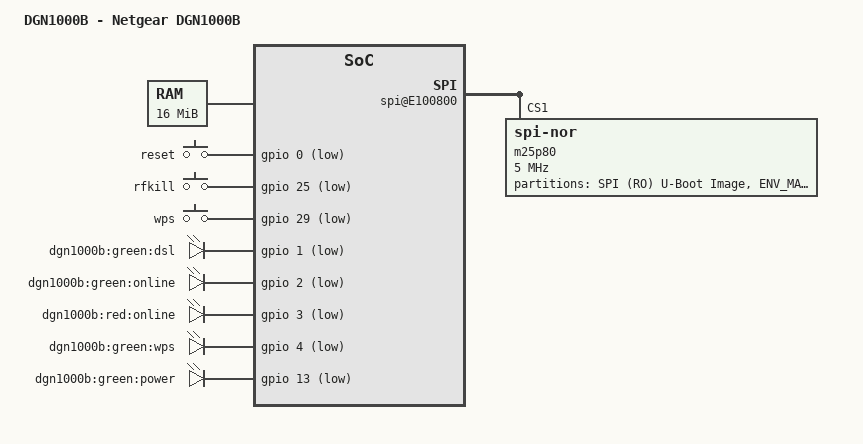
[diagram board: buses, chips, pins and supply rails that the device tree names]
/dts-v1/;

#include "amazonse.dtsi"

#include <dt-bindings/input/input.h>

/ {
	model = "DGN1000B - Netgear DGN1000B";

	chosen {
		bootargs = "console=ttyLTQ0,115200";
	};

	aliases {
		led-boot = &power;
		led-failsafe = &power;
		led-running = &power;

		led-dsl = &dsl;
		led-internet = &online_green;
	};

	memory@0 {
		reg = <0x0 0x1000000>;
	};

	fpi@10000000 {
		gpio: pinmux@E100B10 {
			pinctrl-names = "default";
			pinctrl-0 = <&state_default>;

			state_default: pinmux {
				asc {
					lantiq,groups = "asc";
					lantiq,function = "asc";
				};
				keys_in {
					lantiq,pins = "io0",/* "io25", */"io29";
					lantiq,pull = <2>;
					lantiq,open-drain = <1>;
				};
			};
			pins_spi_default: pins_spi_default {
				spi_in {
					lantiq,groups = "spi_di";
					lantiq,function = "spi";
				};
				spi_out {
					lantiq,groups = "spi_do", "spi_clk",
						"spi_cs1";
					lantiq,function = "spi";
					lantiq,output = <1>;
				};
			};
		};

		etop@E180000 {
			phy-mode = "mii";
			mac-address = [ 00 11 22 33 44 55 ];
		};

		spi@E100800 {
			pinctrl-names = "default";
			pinctrl-0 = <&pins_spi_default>;

			m25p80@1 {
				#address-cells = <1>;
				#size-cells = <1>;
				compatible = "jedec,spi-nor";
				reg = <1 0>;
				spi-max-frequency = <5000000>;

				partitions {
					compatible = "fixed-partitions";
					#address-cells = <1>;
					#size-cells = <1>;

					partition@0 {
						reg = <0x0 0x20000>;
						label = "SPI (RO) U-Boot Image";
						read-only;
					};

					partition@20000 {
						reg = <0x20000 0x10000>;
						label = "ENV_MAC";
						read-only;
					};

					partition@30000 {
						reg = <0x30000 0x10000>;
						label = "DPF";
						read-only;
					};

					partition@40000 {
						reg = <0x40000 0x10000>;
						label = "NVRAM";
						read-only;
					};

					partition@500000 {
						reg = <0x50000 0x003a0000>;
						label = "kernel";
					};
				};
			};
		};

		ifxhcd@E101000 {
			status = "okay";
		};
	};

	gpio-keys-polled {
		compatible = "gpio-keys-polled";
		#address-cells = <1>;
		#size-cells = <0>;
		poll-interval = <100>;

		reset {
			label = "reset";
			gpios = <&gpio 0 GPIO_ACTIVE_LOW>;
			linux,code = <KEY_RESTART>;
		};
		rfkill {
			label = "rfkill";
			gpios = <&gpio 25 GPIO_ACTIVE_LOW>;
			linux,code = <KEY_RFKILL>;
		};
		wps {
			label = "wps";
			gpios = <&gpio 29 GPIO_ACTIVE_LOW>;
			linux,code = <KEY_WPS_BUTTON>;
		};
	};

	gpio-leds {
		compatible = "gpio-leds";
		dsl: dsl {
			label = "dgn1000b:green:dsl";
			gpios = <&gpio 1 GPIO_ACTIVE_LOW>;
			default-state = "on";
		};
		online_green: online {
			label = "dgn1000b:green:online";
			gpios = <&gpio 2 GPIO_ACTIVE_LOW>;
			default-state = "on";
		};
		online2 {
			label = "dgn1000b:red:online";
			gpios = <&gpio 3 GPIO_ACTIVE_LOW>;
			default-state = "on";
		};
		wps {
			label = "dgn1000b:green:wps";
			gpios = <&gpio 4 GPIO_ACTIVE_LOW>;
			default-state = "on";
		};
		power: power {
			label = "dgn1000b:green:power";
			gpios = <&gpio 13 GPIO_ACTIVE_LOW>;
			default-state = "keep";
		};
		/*
			power red is missing
		*/
	};
};
